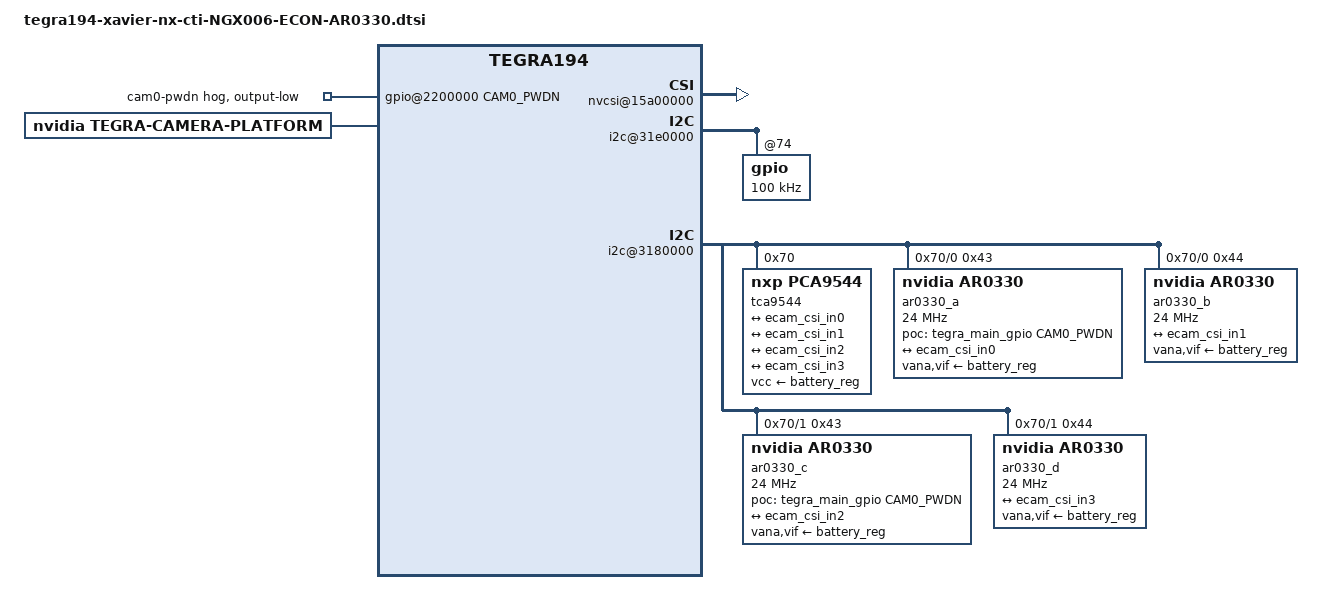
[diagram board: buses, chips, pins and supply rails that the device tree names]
/* Econ device tree for AR1335 support */
#include "dt-bindings/clock/tegra194-clock.h"
#define CAM0_PWDN	TEGRA194_MAIN_GPIO(P, 4)
/ {

	/* set camera gpio direction to output */
	gpio@2200000 {
		camera-control-output-low {
		 	gpio-hog;
		 	output-low;
		 	gpios = <CAM0_PWDN 0>;
			label = "cam0-pwdn";
		};
	};

	/* all cameras are disabled by default */
	host1x {
		vi@15c10000 {
			num-channels = <4>;
			status = "okay";
			ports {
				#address-cells = <1>;
				#size-cells = <0>;
				port@0 {
					reg = <0>;
					status = "okay";
					ecam_vi_in0: endpoint {
						 vc-id = <0>; 									 
						 //port-index = <5>;
						 port-index = <2>;
						 bus-width = <4>;
						 status = "okay";	
						 remote-endpoint = <&ecam_csi_out0>;
					 };
				};
				port@1 {
					reg = <1>;
					status = "okay";	
					ecam_vi_in1: endpoint {
						 vc-id = <1>; 									 
						 //port-index = <5>;
						 port-index = <2>;
						 bus-width = <4>;
						 status = "okay";	
						 remote-endpoint = <&ecam_csi_out1>;
					 };
				};

				port@2 {
					reg = <2>;
					status = "okay";
					ecam_vi_in2: endpoint {
						 vc-id = <0>; 									 
						 //port-index = <4>;
						 port-index = <0>;
						 bus-width = <4>;
						 status = "okay";	
						 remote-endpoint = <&ecam_csi_out2>;
					 };
				};
				port@3 {
					reg = <3>;
					status = "okay";	
					ecam_vi_in3: endpoint {
						 vc-id = <1>; 									 
						 //port-index = <4>;
						 port-index = <0>;
						 bus-width = <4>;
						 status = "okay";	
						 remote-endpoint = <&ecam_csi_out3>;
					 };
				};
			};
		};

		nvcsi@15a00000 {
			num-channels = <4>;
			#address-cells = <1>;
			#size-cells = <0>;
			status = "okay";	
			channel@0 {
				reg = <0>;
				status = "okay";	
				ports {
					#address-cells = <1>;
					#size-cells = <0>;
					port@0 {
						reg = <0>;
						status = "okay";	
						ecam_csi_in0: endpoint@0 {
							  //port-index = <6>;
							  port-index = <2>;
							  bus-width = <4>;
							  status = "okay";	
							  remote-endpoint = <&ecam_ar0330_out0>;
						  };
					};
					port@1 {
						reg = <1>;
						status = "okay";	
						ecam_csi_out0: endpoint@1 {
						   remote-endpoint = <&ecam_vi_in0>;
						   status = "okay";	
					   };
					};
				};
			};
			channel@1 {
				reg = <1>;
				status = "okay";	
				ports {
					#address-cells = <1>;
					#size-cells = <0>;
					port@0 {
						reg = <0>;
						status = "okay";	
						ecam_csi_in1: endpoint@2 {
							  //port-index = <6>;
							  port-index = <2>;
							  bus-width = <4>;
							  status = "okay";	
							  remote-endpoint = <&ecam_ar0330_out1>;
						};
					};
					port@1 {
						reg = <1>;
						status = "okay";	
						ecam_csi_out1: endpoint@3 {
							   remote-endpoint = <&ecam_vi_in1>;
							   status = "okay";	
					   };
					};
				};
			};

			channel@2 {
				reg = <2>;
				status = "okay";	
				ports {
					#address-cells = <1>;
					#size-cells = <0>;
					port@0 {
						reg = <0>;
						status = "okay";	
						ecam_csi_in2: endpoint@4 {
							  //port-index = <4>;
							  port-index = <0>;
							  bus-width = <4>;
							  status = "okay";	
							  remote-endpoint = <&ecam_ar0330_out2>;
						  };
					};
					port@1 {
						reg = <1>;
						status = "okay";	
						ecam_csi_out2: endpoint@5 {
						   remote-endpoint = <&ecam_vi_in2>;
						   status = "okay";	
					   };
					};
				};
			};
			channel@3 {
				reg = <3>;
				status = "okay";	
				ports {
					#address-cells = <1>;
					#size-cells = <0>;
					port@0 {
						reg = <0>;
						status = "okay";	
						ecam_csi_in3: endpoint@6 {
							  //port-index = <4>;
							  port-index = <0>;
							  bus-width = <4>;
							  status = "okay";	
							  remote-endpoint = <&ecam_ar0330_out3>;
						};
					};
					port@1 {
						reg = <1>;
						status = "okay";	
						ecam_csi_out3: endpoint@7 {
							   remote-endpoint = <&ecam_vi_in3>;
							   status = "okay";	
					   };
					};
				};
			};
		};
	};
	
	
	
	i2c@31e0000 {
	   /*
		*gpio@74{    //Camera GPIO
        *   status = "okay";
        *    vcc-supply = <&battery_reg>;
        *
        *    camera-rst{
        *        gpio-hog;
        *        output-low;
        *        gpios = <0 0 2 0 >;
        *        label = "des_a_rst", "des_b_rst";
        *    };
        *};
		*/
		gpio@74{    //Camera GPIO
			clock-frequency = <100000>;
			tca9539_74: tca9539@74 {
			compatible = "ti,tca9539";
			gpio-controller;
			#gpio-cells = <2>;
			reg = <0x74>;
			vcc-supply = <&battery_reg>;
		 	status = "okay";
			tca9539_74_outlow {
		 		/*
				 * GPIO-0  : RST_CAMA
		 		 * GPIO-1  : BOOT_CAMA
		 		 * GPIO-2  : RST_CAMB
		 		 * GPIO-3  : BOOT_CAMB
		 		 * GPIO-4  : RST_CAMC
		 		 * GPIO-5  : BOOT_CAMC
		 		 * GPIO-6  : RST_CAMD
		 		 * GPIO-7  : BOOT_CAMD
				 */
		 		gpio-hog;
		 		gpios = <0 0 1 0 2 0 3 0 4 0 5 0 6 0 7 0>;
		 		output-low;
		 		label = "tca9539_74_outlow_0",
		 				"tca9539_74_outlow_1",
		 				"tca9539_74_outlow_2",
		 				"tca9539_74_outlow_3",
		 				"tca9539_74_outlow_4",
		 				"tca9539_74_outlow_5",
		 				"tca9539_74_outlow_6",
		 				"tca9539_74_outlow_7";
		 	};
		 	tca9539_74_outhigh {
		 		status= "disabled";
		 	};
	     	tca9539_74_input {
		 		status = "disabled";
		 	};
		 };
	    };
	};

	i2c@3180000 {
		status = "okay";
		#address-cells = <1>;
		#size-cells = <0>;
		tca9544@70 {
            compatible = "nxp,pca9544";
            reg = <0x70>;
            #address-cells = <1>;
            #size-cells = <0>;
			vcc-supply = <&battery_reg>;
			//vcc-supply = <&p3509_vdd_1v8_cvb>;
			skip_mux_detect;
            force_bus_start = <0x1e>;
			i2c@0 {
	            reg = <0>;
    	   	    i2c-mux,deselect-on-exit;
        	    #address-cells = <1>;
             	#size-cells = <0>;
	            status = "okay";
				ar0330_a@43 {
					status = "okay";
					compatible = "nvidia,ar0330";
					reg = <0x43>;
					sensor_model ="ar0330";
					avdd-reg = "vana";
					iovdd-reg = "vif";
					clocks = <&bpmp_clks  TEGRA194_CLK_EXTPERIPH1>,
							 <&bpmp_clks TEGRA194_CLK_PLLP_OUT0>;
					clock-names = "extperiph1", "pllp_grtba";
					mclk = "extperiph1";
					clock-frequency = <24000000>;
					/* This GPIO needs to be toggled only once for the entire setup */
					poc-gpio = <&tegra_main_gpio CAM0_PWDN GPIO_ACTIVE_HIGH>;
					vana-supply = <&battery_reg>;
					vif-supply = <&battery_reg>;
					use_sensor_mode_id = "false";
					camera_mipi_lanes = <2>;	

					/* Parameter to denote PHY layer */
					phy-id = "A";
					deserializer-address = <0x48>;
					serializer-address_1 = <0x40>;
					serializer-address_2 = <0x41>;
					serializer-address_3 = <0x50>;
					mode0 {		// MODE_640X480
						mclk_khz = "24000";
						num_lanes = "2";
						tegra_sinterface = "serial_a";
						phy_mode = "DPHY";
						discontinuous_clk = "no";
						dpcm_enable = "false";
						cil_settletime = "0";
						dynamic_pixel_bit_depth = "16";
						csi_pixel_bit_depth = "16";
						mode_type = "yuv";
						pixel_phase = "uyvy";
						pixel_t = "uyvy";

						active_w = "1280";
						active_h = "720";
						readout_orientation = "0";
						deskew_initial_enable = "false";
						pix_clk_hz = "1152000000";
						/* Below mode parameter not used for econ UYVY camera sensor */ 
						line_length = "3840";
						inherent_gain = "1";
						mclk_multiplier = "6.67";

						min_gain_val = "0"; /* dB */
						max_gain_val = "48"; /* dB */
						min_hdr_ratio = "1";
						max_hdr_ratio = "1";
						min_framerate = "1.5";
						max_framerate = "30";
						min_exp_time = "30";
						max_exp_time = "660000";
					};
					mode1 {		// MODE_1280X720
						mclk_khz = "24000";
						num_lanes = "2";
						tegra_sinterface = "serial_a";
						phy_mode = "DPHY";
						discontinuous_clk = "no";
						dpcm_enable = "false";
						cil_settletime = "0";
						dynamic_pixel_bit_depth = "16";
						csi_pixel_bit_depth = "16";
						mode_type = "yuv";
						pixel_phase = "uyvy";
						pixel_t = "uyvy";

						active_w = "1280";
						active_h = "720";
						readout_orientation = "0";
						deskew_initial_enable = "false";
						pix_clk_hz = "1152000000";
						/* Below mode parameter not used for econ UYVY camera sensor */ 
						line_length = "3840";
						inherent_gain = "1";
						mclk_multiplier = "6.67";

						min_gain_val = "0"; /* dB */
						max_gain_val = "48"; /* dB */
						min_hdr_ratio = "1";
						max_hdr_ratio = "1";
						min_framerate = "1.5";
						max_framerate = "30";
						min_exp_time = "30";
						max_exp_time = "660000";
					};
					mode2 {		// MODE_1920X1080
						mclk_khz = "24000";
						num_lanes = "2";
						tegra_sinterface = "serial_a";
						phy_mode = "DPHY";
						discontinuous_clk = "no";
						dpcm_enable = "false";
						cil_settletime = "0";
						dynamic_pixel_bit_depth = "16";
						csi_pixel_bit_depth = "16";
						mode_type = "yuv";
						pixel_phase = "uyvy";
						pixel_t = "uyvy";

						active_w = "1920";
						active_h = "1080";
						readout_orientation = "0";
						deskew_initial_enable = "false";
						pix_clk_hz = "1152000000";
						/* Below mode parameter not used for econ UYVY camera sensor */ 
						line_length = "3840";
						inherent_gain = "1";
						mclk_multiplier = "6.67";

						min_gain_val = "0"; /* dB */
						max_gain_val = "48"; /* dB */
						min_hdr_ratio = "1";
						max_hdr_ratio = "1";
						min_framerate = "1.5";
						max_framerate = "30";
						min_exp_time = "30";
						max_exp_time = "660000";
					};
					mode3 {		// MODE_2304X1296
						mclk_khz = "24000";
						num_lanes = "2";
						tegra_sinterface = "serial_a";
						phy_mode = "DPHY";
						discontinuous_clk = "no";
						dpcm_enable = "false";
						cil_settletime = "0";
						dynamic_pixel_bit_depth = "16";
						csi_pixel_bit_depth = "16";
						mode_type = "yuv";
						pixel_phase = "uyvy";
						pixel_t = "uyvy";

						active_w = "2304";
						active_h = "1296";
						readout_orientation = "0";
						deskew_initial_enable = "false";
						pix_clk_hz = "1152000000";
						/* Below mode parameter not used for econ UYVY camera sensor */ 
						line_length = "3840";
						inherent_gain = "1";
						mclk_multiplier = "6.67";

						min_gain_val = "0"; /* dB */
						max_gain_val = "48"; /* dB */
						min_hdr_ratio = "1";
						max_hdr_ratio = "1";
						min_framerate = "1.5";
						max_framerate = "30";
						min_exp_time = "30";
						max_exp_time = "660000";
					};
					mode4 {		// MODE_2304X1536
						mclk_khz = "24000";
						num_lanes = "2";
						tegra_sinterface = "serial_a";
						phy_mode = "DPHY";
						discontinuous_clk = "no";
						dpcm_enable = "false";
						cil_settletime = "0";
						dynamic_pixel_bit_depth = "16";
						csi_pixel_bit_depth = "16";
						mode_type = "yuv";
						pixel_phase = "uyvy";
						pixel_t = "uyvy";

						active_w = "2304";
						active_h = "1536";
						readout_orientation = "0";
						deskew_initial_enable = "false";
						pix_clk_hz = "1152000000";
						/* Below mode parameter not used for econ UYVY camera sensor */ 
						line_length = "3840";
						inherent_gain = "1";
						mclk_multiplier = "6.67";

						min_gain_val = "0"; /* dB */
						max_gain_val = "48"; /* dB */
						min_hdr_ratio = "1";
						max_hdr_ratio = "1";
						min_framerate = "1.5";
						max_framerate = "30";
						min_exp_time = "30";
						max_exp_time = "660000";
					};
					ports {
						#address-cells = <1>;
						#size-cells = <0>;
						port@0 {
							reg = <0>;
							ecam_ar0330_out0: endpoint {
								vc-id = <0>;		 
								port-index = <6>;
								bus-width = <4>;
								remote-endpoint = <&ecam_csi_in0>;
							};
						};
					};
				};

               ar0330_b@44 {
                        status = "okay";
                        compatible = "nvidia,ar0330";
                        reg = <0x44>;
						reg_mux = <0>;
                        sensor_model ="ar0330";
                        avdd-reg = "vana";
                        iovdd-reg = "vif";
						clocks = <&bpmp_clks  TEGRA194_CLK_EXTPERIPH1>,
				 		<&bpmp_clks TEGRA194_CLK_PLLP_OUT0>;
                        clock-names = "extperiph1", "pllp_grtba";
                        mclk = "extperiph1";
                        clock-frequency = <24000000>;
						vana-supply= <&battery_reg>;
						vif-supply = <&battery_reg>;
						//vif-supply = <&p3509_vdd_1v8_cvb>;
						use_sensor_mode_id = "false";
						camera_mipi_lanes = <2>;	

					/* Parameter to enable i2c translation */
					phy-id = "B";
					deserializer-address = <0x48>;
					serializer-address_1 = <0x40>;
					serializer-address_2 = <0x41>;
					serializer-address_3 = <0x50>;					
					mode0 {     //MODE_640X480
     					mclk_khz = "24000";
     					num_lanes = "2";
     					tegra_sinterface = "serial_b";
     					phy_mode = "DPHY";
     					discontinuous_clk = "no";
     					dpcm_enable = "false";
     					cil_settletime = "0";
     					dynamic_pixel_bit_depth = "16";
     					csi_pixel_bit_depth = "16";
     					mode_type = "yuv";
     					pixel_phase = "uyvy";
     					pixel_t = "uyvy";
     
     					active_w = "640";
     					active_h = "480";
     					readout_orientation = "0";
     					pix_clk_hz = "1152000000";
     					deskew_initial_enable = "false";
     					/* Below mode parameter not used in for econ UYVY camera sensor */ 
     					line_length = "3840";
     					inherent_gain = "1";
     					mclk_multiplier = "6.67";
     
     					min_gain_val = "0"; /* dB */
     					max_gain_val = "48"; /* dB */
     					min_hdr_ratio = "1";
     					max_hdr_ratio = "1";
     					min_framerate = "1.5";
     					max_framerate = "30";
     					min_exp_time = "30";
     					max_exp_time = "660000";
				    };
				mode1 {     //MODE_1280X720
					mclk_khz = "24000";
					num_lanes = "2";
					tegra_sinterface = "serial_b";
					phy_mode = "DPHY";
					discontinuous_clk = "no";
					dpcm_enable = "false";
					cil_settletime = "0";
					dynamic_pixel_bit_depth = "16";
					csi_pixel_bit_depth = "16";
					mode_type = "yuv";
					pixel_phase = "uyvy";
					pixel_t = "uyvy";

					active_w = "1280";
					active_h = "720";
					readout_orientation = "0";
					pix_clk_hz = "1152000000";
					deskew_initial_enable = "false";
					/* Below mode parameter not used in for econ UYVY camera sensor */ 
					line_length = "3840";
					inherent_gain = "1";
					mclk_multiplier = "6.67";

					min_gain_val = "0"; /* dB */
					max_gain_val = "48"; /* dB */
					min_hdr_ratio = "1";
					max_hdr_ratio = "1";
					min_framerate = "1.5";
					max_framerate = "30";
					min_exp_time = "30";
					max_exp_time = "660000";
				};
				mode2 {     //MODE_1920X1080
					mclk_khz = "24000";
					num_lanes = "2";
					tegra_sinterface = "serial_b";
					phy_mode = "DPHY";
					discontinuous_clk = "no";
					dpcm_enable = "false";
					cil_settletime = "0";
					dynamic_pixel_bit_depth = "16";
					csi_pixel_bit_depth = "16";
					mode_type = "yuv";
					pixel_phase = "uyvy";
					pixel_t = "uyvy";

					active_w = "1920";
					active_h = "1080";
					readout_orientation = "0";
					pix_clk_hz = "1152000000";
					deskew_initial_enable = "false";
					/* Below mode parameter not used in for econ UYVY camera sensor */ 
					line_length = "3840";
					inherent_gain = "1";
					mclk_multiplier = "6.67";

					min_gain_val = "0"; /* dB */
					max_gain_val = "48"; /* dB */
					min_hdr_ratio = "1";
					max_hdr_ratio = "1";
					min_framerate = "1.5";
					max_framerate = "30";
					min_exp_time = "30";
					max_exp_time = "660000";
				};
				mode3 {     //MODE_2304X1296
					mclk_khz = "24000";
					num_lanes = "2";
					tegra_sinterface = "serial_b";
					phy_mode = "DPHY";
					discontinuous_clk = "no";
					dpcm_enable = "false";
					cil_settletime = "0";
					dynamic_pixel_bit_depth = "16";
					csi_pixel_bit_depth = "16";
					mode_type = "yuv";
					pixel_phase = "uyvy";
					pixel_t = "uyvy";

					active_w = "2304";
					active_h = "1296";
					readout_orientation = "0";
					pix_clk_hz = "1152000000";
					deskew_initial_enable = "false";
					/* Below mode parameter not used in for econ UYVY camera sensor */ 
					line_length = "3840";
					inherent_gain = "1";
					mclk_multiplier = "6.67";

					min_gain_val = "0"; /* dB */
					max_gain_val = "48"; /* dB */
					min_hdr_ratio = "1";
					max_hdr_ratio = "1";
					min_framerate = "1.5";
					max_framerate = "30";
					min_exp_time = "30";
					max_exp_time = "660000";
				};
				mode4 {     //MODE_2304X1536
					mclk_khz = "24000";
					num_lanes = "2";
					tegra_sinterface = "serial_b";
					phy_mode = "DPHY";
					discontinuous_clk = "no";
					dpcm_enable = "false";
					cil_settletime = "0";
					dynamic_pixel_bit_depth = "16";
					csi_pixel_bit_depth = "16";
					mode_type = "yuv";
					pixel_phase = "uyvy";
					pixel_t = "uyvy";

					active_w = "2304";
					active_h = "1536";
					pix_clk_hz = "1152000000";
                    readout_orientation = "0";
					deskew_initial_enable = "false";
					/* Below mode parameter not used in for econ UYVY camera sensor */ 
					line_length = "3840";
					inherent_gain = "1";
					mclk_multiplier = "6.67";

					min_gain_val = "0"; /* dB */
					max_gain_val = "48"; /* dB */
					min_hdr_ratio = "1";
					max_hdr_ratio = "1";
					min_framerate = "1.5";
					max_framerate = "30";
					min_exp_time = "30";
					max_exp_time = "660000";
				};

               		ports {
   	    	               #address-cells = <1>;
    	                   #size-cells = <0>;
            	           port@0 {
                               reg = <0>;
                               ecam_ar0330_out1: endpoint {
							   vc-id = <1>;		 
                                       port-index = <6>;
                                       bus-width = <4>;
                                       remote-endpoint = <&ecam_csi_in1>;
                               };
                    	   };
              		 	};
       				};
			};

            i2c@1{
                    status = "okay";
                    reg = <1>;
                    i2c-mux,deselect-on-exit;
                    #address-cells = <1>;
                    #size-cells = <0>;
				ar0330_c@43 {
					status = "okay";
					compatible = "nvidia,ar0330";
					reg = <0x43>;
					sensor_model ="ar0330";
					avdd-reg = "vana";
					iovdd-reg = "vif";
					clocks = <&bpmp_clks  TEGRA194_CLK_EXTPERIPH1>,
							 <&bpmp_clks TEGRA194_CLK_PLLP_OUT0>;
					clock-names = "extperiph1", "pllp_grtba";
					mclk = "extperiph1";
					clock-frequency = <24000000>;
					/* This GPIO needs to be toggled only once for the entire setup */
					poc-gpio = <&tegra_main_gpio CAM0_PWDN GPIO_ACTIVE_HIGH>;
					vana-supply = <&battery_reg>;
					vif-supply = <&battery_reg>;
					use_sensor_mode_id = "false";
					camera_mipi_lanes = <2>;	

					/* Parameter to denote PHY layer */
					phy-id = "A";
					deserializer-address = <0x48>;
					serializer-address_1 = <0x40>;
					serializer-address_2 = <0x41>;
					serializer-address_3 = <0x50>;					
					mode0 {		// MODE_640X480
						mclk_khz = "24000";
						num_lanes = "2";
						tegra_sinterface = "serial_a";
						phy_mode = "DPHY";
						discontinuous_clk = "no";
						dpcm_enable = "false";
						cil_settletime = "0";
						dynamic_pixel_bit_depth = "16";
						csi_pixel_bit_depth = "16";
						mode_type = "yuv";
						pixel_phase = "uyvy";
						pixel_t = "uyvy";

						active_w = "1280";
						active_h = "720";
						readout_orientation = "0";
						deskew_initial_enable = "false";
						pix_clk_hz = "1152000000";
						/* Below mode parameter not used for econ UYVY camera sensor */ 
						line_length = "3840";
						inherent_gain = "1";
						mclk_multiplier = "6.67";

						min_gain_val = "0"; /* dB */
						max_gain_val = "48"; /* dB */
						min_hdr_ratio = "1";
						max_hdr_ratio = "1";
						min_framerate = "1.5";
						max_framerate = "30";
						min_exp_time = "30";
						max_exp_time = "660000";
					};
					mode1 {		// MODE_1280X720
						mclk_khz = "24000";
						num_lanes = "2";
						tegra_sinterface = "serial_a";
						phy_mode = "DPHY";
						discontinuous_clk = "no";
						dpcm_enable = "false";
						cil_settletime = "0";
						dynamic_pixel_bit_depth = "16";
						csi_pixel_bit_depth = "16";
						mode_type = "yuv";
						pixel_phase = "uyvy";
						pixel_t = "uyvy";

						active_w = "1280";
						active_h = "720";
						readout_orientation = "0";
						deskew_initial_enable = "false";
						pix_clk_hz = "1152000000";
						/* Below mode parameter not used for econ UYVY camera sensor */ 
						line_length = "3840";
						inherent_gain = "1";
						mclk_multiplier = "6.67";

						min_gain_val = "0"; /* dB */
						max_gain_val = "48"; /* dB */
						min_hdr_ratio = "1";
						max_hdr_ratio = "1";
						min_framerate = "1.5";
						max_framerate = "30";
						min_exp_time = "30";
						max_exp_time = "660000";
					};
					mode2 {		// MODE_1920X1080
						mclk_khz = "24000";
						num_lanes = "2";
						tegra_sinterface = "serial_a";
						phy_mode = "DPHY";
						discontinuous_clk = "no";
						dpcm_enable = "false";
						cil_settletime = "0";
						dynamic_pixel_bit_depth = "16";
						csi_pixel_bit_depth = "16";
						mode_type = "yuv";
						pixel_phase = "uyvy";
						pixel_t = "uyvy";

						active_w = "1920";
						active_h = "1080";
						readout_orientation = "0";
						deskew_initial_enable = "false";
						pix_clk_hz = "1152000000";
						/* Below mode parameter not used for econ UYVY camera sensor */ 
						line_length = "3840";
						inherent_gain = "1";
						mclk_multiplier = "6.67";

						min_gain_val = "0"; /* dB */
						max_gain_val = "48"; /* dB */
						min_hdr_ratio = "1";
						max_hdr_ratio = "1";
						min_framerate = "1.5";
						max_framerate = "30";
						min_exp_time = "30";
						max_exp_time = "660000";
					};
					mode3 {		// MODE_2304X1296
						mclk_khz = "24000";
						num_lanes = "2";
						tegra_sinterface = "serial_a";
						phy_mode = "DPHY";
						discontinuous_clk = "no";
						dpcm_enable = "false";
						cil_settletime = "0";
						dynamic_pixel_bit_depth = "16";
						csi_pixel_bit_depth = "16";
						mode_type = "yuv";
						pixel_phase = "uyvy";
						pixel_t = "uyvy";

						active_w = "2304";
						active_h = "1296";
						readout_orientation = "0";
						deskew_initial_enable = "false";
						pix_clk_hz = "1152000000";
						/* Below mode parameter not used for econ UYVY camera sensor */ 
						line_length = "3840";
						inherent_gain = "1";
						mclk_multiplier = "6.67";

						min_gain_val = "0"; /* dB */
						max_gain_val = "48"; /* dB */
						min_hdr_ratio = "1";
						max_hdr_ratio = "1";
						min_framerate = "1.5";
						max_framerate = "30";
						min_exp_time = "30";
						max_exp_time = "660000";
					};
					mode4 {		// MODE_2304X1536
						mclk_khz = "24000";
						num_lanes = "2";
						tegra_sinterface = "serial_a";
						phy_mode = "DPHY";
						discontinuous_clk = "no";
						dpcm_enable = "false";
						cil_settletime = "0";
						dynamic_pixel_bit_depth = "16";
						csi_pixel_bit_depth = "16";
						mode_type = "yuv";
						pixel_phase = "uyvy";
						pixel_t = "uyvy";

						active_w = "2304";
						active_h = "1536";
						readout_orientation = "0";
						deskew_initial_enable = "false";
						pix_clk_hz = "1152000000";
						/* Below mode parameter not used for econ UYVY camera sensor */ 
						line_length = "3840";
						inherent_gain = "1";
						mclk_multiplier = "6.67";

						min_gain_val = "0"; /* dB */
						max_gain_val = "48"; /* dB */
						min_hdr_ratio = "1";
						max_hdr_ratio = "1";
						min_framerate = "1.5";
						max_framerate = "30";
						min_exp_time = "30";
						max_exp_time = "660000";
					};
					ports {
						#address-cells = <1>;
						#size-cells = <0>;
						port@0 {
							reg = <0>;
							ecam_ar0330_out2: endpoint {
								vc-id = <0>;		 
								port-index = <4>;
								bus-width = <4>;
								remote-endpoint = <&ecam_csi_in2>;
							};
						};
					};
				};

               ar0330_d@44 {
			            status = "okay";
                        compatible = "nvidia,ar0330";
                        reg = <0x44>;
						reg_mux = <1>;
                        sensor_model ="ar0330";
                        avdd-reg = "vana";
                        iovdd-reg = "vif";
						clocks = <&bpmp_clks  TEGRA194_CLK_EXTPERIPH1>,
				 		<&bpmp_clks TEGRA194_CLK_PLLP_OUT0>;
                        clock-names = "extperiph1", "pllp_grtba";
                        mclk = "extperiph1";
                        clock-frequency = <24000000>;
						vana-supply = <&battery_reg>;
						vif-supply = <&battery_reg>;
						use_sensor_mode_id = "false";
						camera_mipi_lanes = <2>;	

					/* Parameter to enable i2c translation */
					phy-id = "B";
					deserializer-address = <0x48>;
					serializer-address_1 = <0x40>;
					serializer-address_2 = <0x41>;
					serializer-address_3 = <0x50>;					
					mode0 {     //MODE_640X480
     					mclk_khz = "24000";
     					num_lanes = "2";
     					tegra_sinterface = "serial_b";
     					phy_mode = "DPHY";
     					discontinuous_clk = "no";
     					dpcm_enable = "false";
     					cil_settletime = "0";
     					dynamic_pixel_bit_depth = "16";
     					csi_pixel_bit_depth = "16";
     					mode_type = "yuv";
     					pixel_phase = "uyvy";
     					pixel_t = "uyvy";
     
     					active_w = "640";
     					active_h = "480";
     					readout_orientation = "0";
     					pix_clk_hz = "1152000000";
     					deskew_initial_enable = "false";
     					/* Below mode parameter not used in for econ UYVY camera sensor */ 
     					line_length = "3840";
     					inherent_gain = "1";
     					mclk_multiplier = "6.67";
     
     					min_gain_val = "0"; /* dB */
     					max_gain_val = "48"; /* dB */
     					min_hdr_ratio = "1";
     					max_hdr_ratio = "1";
     					min_framerate = "1.5";
     					max_framerate = "30";
     					min_exp_time = "30";
     					max_exp_time = "660000";
				    };
				mode1 {     //MODE_1280X720
					mclk_khz = "24000";
					num_lanes = "2";
					tegra_sinterface = "serial_b";
					phy_mode = "DPHY";
					discontinuous_clk = "no";
					dpcm_enable = "false";
					cil_settletime = "0";
					dynamic_pixel_bit_depth = "16";
					csi_pixel_bit_depth = "16";
					mode_type = "yuv";
					pixel_phase = "uyvy";
					pixel_t = "uyvy";

					active_w = "1280";
					active_h = "720";
					readout_orientation = "0";
					pix_clk_hz = "1152000000";
					deskew_initial_enable = "false";
					/* Below mode parameter not used in for econ UYVY camera sensor */ 
					line_length = "3840";
					inherent_gain = "1";
					mclk_multiplier = "6.67";

					min_gain_val = "0"; /* dB */
					max_gain_val = "48"; /* dB */
					min_hdr_ratio = "1";
					max_hdr_ratio = "1";
					min_framerate = "1.5";
					max_framerate = "30";
					min_exp_time = "30";
					max_exp_time = "660000";
				};
				mode2 {     //MODE_1920X1080
					mclk_khz = "24000";
					num_lanes = "2";
					tegra_sinterface = "serial_b";
					phy_mode = "DPHY";
					discontinuous_clk = "no";
					dpcm_enable = "false";
					cil_settletime = "0";
					dynamic_pixel_bit_depth = "16";
					csi_pixel_bit_depth = "16";
					mode_type = "yuv";
					pixel_phase = "uyvy";
					pixel_t = "uyvy";

					active_w = "1920";
					active_h = "1080";
					readout_orientation = "0";
					pix_clk_hz = "1152000000";
					deskew_initial_enable = "false";
					/* Below mode parameter not used in for econ UYVY camera sensor */ 
					line_length = "3840";
					inherent_gain = "1";
					mclk_multiplier = "6.67";

					min_gain_val = "0"; /* dB */
					max_gain_val = "48"; /* dB */
					min_hdr_ratio = "1";
					max_hdr_ratio = "1";
					min_framerate = "1.5";
					max_framerate = "30";
					min_exp_time = "30";
					max_exp_time = "660000";
				};
				mode3 {     //MODE_2304X1296
					mclk_khz = "24000";
					num_lanes = "2";
					tegra_sinterface = "serial_b";
					phy_mode = "DPHY";
					discontinuous_clk = "no";
					dpcm_enable = "false";
					cil_settletime = "0";
					dynamic_pixel_bit_depth = "16";
					csi_pixel_bit_depth = "16";
					mode_type = "yuv";
					pixel_phase = "uyvy";
					pixel_t = "uyvy";

					active_w = "2304";
					active_h = "1296";
					readout_orientation = "0";
					pix_clk_hz = "1152000000";
					deskew_initial_enable = "false";
					/* Below mode parameter not used in for econ UYVY camera sensor */ 
					line_length = "3840";
					inherent_gain = "1";
					mclk_multiplier = "6.67";

					min_gain_val = "0"; /* dB */
					max_gain_val = "48"; /* dB */
					min_hdr_ratio = "1";
					max_hdr_ratio = "1";
					min_framerate = "1.5";
					max_framerate = "30";
					min_exp_time = "30";
					max_exp_time = "660000";
				};
				mode4 {     //MODE_2304X1536
					mclk_khz = "24000";
					num_lanes = "2";
					tegra_sinterface = "serial_b";
					phy_mode = "DPHY";
					discontinuous_clk = "no";
					dpcm_enable = "false";
					cil_settletime = "0";
					dynamic_pixel_bit_depth = "16";
					csi_pixel_bit_depth = "16";
					mode_type = "yuv";
					pixel_phase = "uyvy";
					pixel_t = "uyvy";

					active_w = "2304";
					active_h = "1536";
					pix_clk_hz = "1152000000";
                                                readout_orientation = "0";
					deskew_initial_enable = "false";
					/* Below mode parameter not used in for econ UYVY camera sensor */ 
					line_length = "3840";
					inherent_gain = "1";
					mclk_multiplier = "6.67";

					min_gain_val = "0"; /* dB */
					max_gain_val = "48"; /* dB */
					min_hdr_ratio = "1";
					max_hdr_ratio = "1";
					min_framerate = "1.5";
					max_framerate = "30";
					min_exp_time = "30";
					max_exp_time = "660000";
				};

               		ports {
   	    	               #address-cells = <1>;
    	                   #size-cells = <0>;
            	           port@0 {
                               reg = <0>;
                               ecam_ar0330_out3: endpoint {
							   vc-id = <1>;		 
                                       port-index = <4>;
                                       bus-width = <4>;
                                       remote-endpoint = <&ecam_csi_in3>;
                               };
                    	   };
              		 	};
       				};									
          		};
		};	
	};

		tegra-camera-platform {
			compatible = "nvidia, tegra-camera-platform";
			/**
			* Physical settings to calculate max ISO BW
			*
			* num_csi_lanes = <>;
			* Total number of CSI lanes when all cameras are active
			*
			* max_lane_speed = <>;
			* Max lane speed in Kbit/s
			*
			* min_bits_per_pixel = <>;
			* Min bits per pixel
			*
			* vi_peak_byte_per_pixel = <>;
			* Max byte per pixel for the VI ISO case
			*
			* vi_bw_margin_pct = <>;
			* Vi bandwidth margin in percentage
			*
			*/
			num_csi_lanes = <8>;
			max_lane_speed = <2500000>;
			min_bits_per_pixel = <16>;
			vi_peak_byte_per_pixel = <2>;
			vi_bw_margin_pct = <67>;
			//max_pixel_rate = <750000>;

			modules {
				module0 {
					badge = "NileCAM30_TX2-1";
					position = "centerleft";
					orientation = "0";
					drivernode0 {
						pcl_id = "v4l2_sensor";
						devname = "NileCAM30_TX2-1 ";
						//devname = "ar0330 30-0043";
						proc-device-tree = "/proc/device-tree/i2c@3180000/tca9544@70/i2c@0/ar0330_a@43";
						status = "okay";
					};
				};
				module1 {
					badge = "NileCAM30_TX2-2";
					position = "bottomleft";
					orientation = "1";
					drivernode0 {
						pcl_id = "v4l2_sensor";
						devname = "NileCAM30_TX2-2 ";
						//devname = "ar0330 31-0044";
						proc-device-tree = "/proc/device-tree/i2c@3180000/tca9544@70/i2c@0/ar0330_b@44";
						status = "okay";
					};
				};
				module2 {
					badge = "NileCAM30_TX2-3";
					position = "topright";
					orientation = "2";
					drivernode0 {
						pcl_id = "v4l2_sensor";
						devname = "NileCAM30_TX2-3 ";
						//devname = "ar0330 32-0043 ";
						proc-device-tree = "/proc/device-tree/i2c@3180000/tca9544@70/i2c@1/ar0330_c@43";
						status = "okay";
					};
				};
				module3 {
					badge = "NileCAM30_TX2-4";
					position = "bottomright";
					orientation = "3";
					drivernode0 {
						pcl_id = "v4l2_sensor";
						devname = "NileCAM30_TX2-4 ";
						//devname = "ar0330 33-0044 ";
						proc-device-tree = "/proc/device-tree/i2c@3180000/tca9544@70/i2c@1/ar0330_d@44";
						status = "okay";
					};
				};
			};
		};
};

